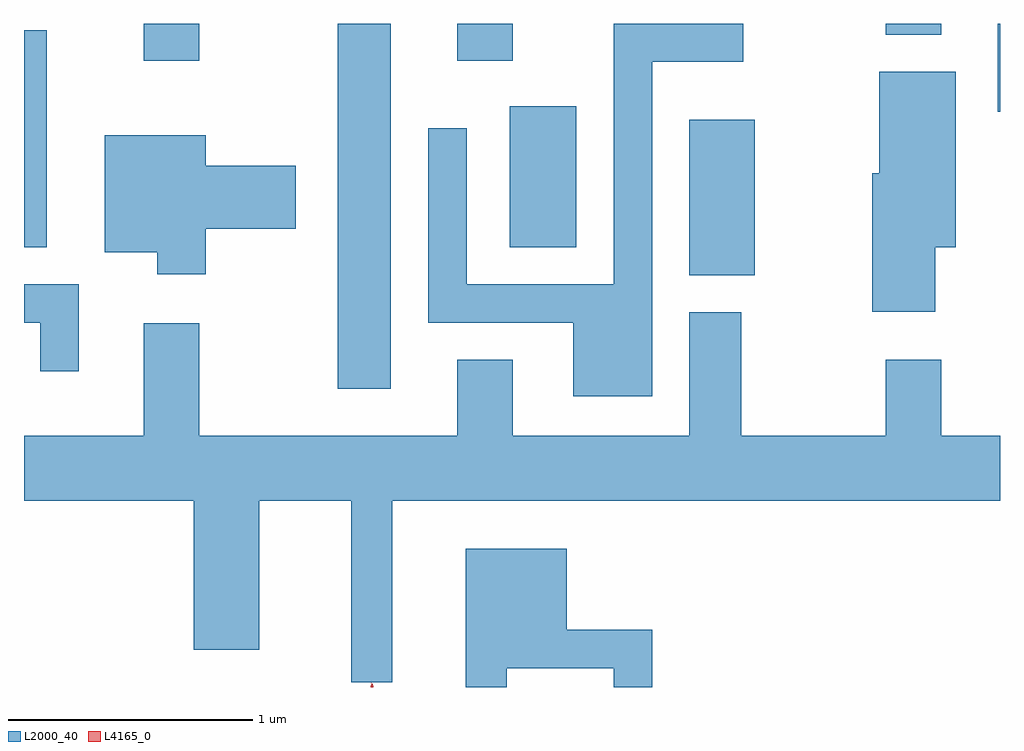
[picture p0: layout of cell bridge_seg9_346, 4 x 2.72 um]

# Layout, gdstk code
import gdstk
lib = gdstk.Library(unit=1e-6, precision=1e-09)
def R(c, l, rs):  # rectangles x0, y0, x1, y1
    for r in rs: c.add(gdstk.rectangle(r[:2], r[2:], *l))
def P(c, l, *ps):  # polygons
    for p in ps: c.add(gdstk.Polygon(p, *l))
L2000_40 = (2000, 40)
L4165_0 = (4165, 0)

bridge_seg9_346 = lib.new_cell('bridge_seg9_346')
R(bridge_seg9_346, L2000_40, [(735.146,1945.656,735.364,1947.152), (736.586,1946.121,736.854,1946.759), (733.86,1946.236,733.954,1947.124), (735.851,1946.236,736.124,1946.814), (737.851,1946.791,737.86,1947.152), (734.351,1947.001,734.579,1947.152), (735.636,1947.001,735.864,1947.152), (737.391,1947.106,737.619,1947.152)])
P(bridge_seg9_346, L2000_40, [(736.434,1946.996),(736.808,1946.996),(736.808,1947.152),(736.276,1947.152),(736.276,1946.084),(735.674,1946.084),(735.674,1946.723),(735.516,1946.723),(735.516,1945.926),(736.111,1945.926),(736.111,1945.626),(736.434,1945.626)],
  [(737.594,1946.236),(737.679,1946.236),(737.679,1946.954),(737.366,1946.954),(737.366,1946.539),(737.336,1946.539),(737.336,1945.971),(737.594,1945.971)],
  [(734.604,1946.311),(734.974,1946.311),(734.974,1946.569),(734.604,1946.569),(734.604,1946.694),(734.191,1946.694),(734.191,1946.216),(734.406,1946.216),(734.406,1946.126),(734.604,1946.126)],
  [(734.084,1946.084),(733.86,1946.084),(733.86,1945.926),(733.926,1945.926),(733.926,1945.728),(734.084,1945.728)],
  [(735.369,1945.196),(737.86,1945.196),(737.86,1945.464),(737.619,1945.464),(737.619,1945.774),(737.391,1945.774),(737.391,1945.464),(736.799,1945.464),(736.799,1945.969),(736.586,1945.969),(736.586,1945.464),(735.864,1945.464),(735.864,1945.774),(735.636,1945.774),(735.636,1945.464),(734.579,1945.464),(734.579,1945.924),(734.351,1945.924),(734.351,1945.464),(733.86,1945.464),(733.86,1945.196),(734.556,1945.196),(734.556,1944.586),(734.824,1944.586),(734.824,1945.196),(735.201,1945.196),(735.201,1944.453),(735.369,1944.453)],
  [(735.839,1944.511),(736.276,1944.511),(736.276,1944.432),(736.434,1944.432),(736.434,1944.669),(736.084,1944.669),(736.084,1944.999),(735.671,1944.999),(735.671,1944.432),(735.839,1944.432)])
P(bridge_seg9_346, L4165_0, [(735.281,1944.432),(735.283,1944.449),(735.283,1944.45),(735.284,1944.449),(735.287,1944.432)],
  [(735.286,1944.432),(735.288,1944.446),(735.289,1944.447),(735.289,1944.446),(735.291,1944.432)])

lib.write_gds('bridge_seg9_346.gds')
